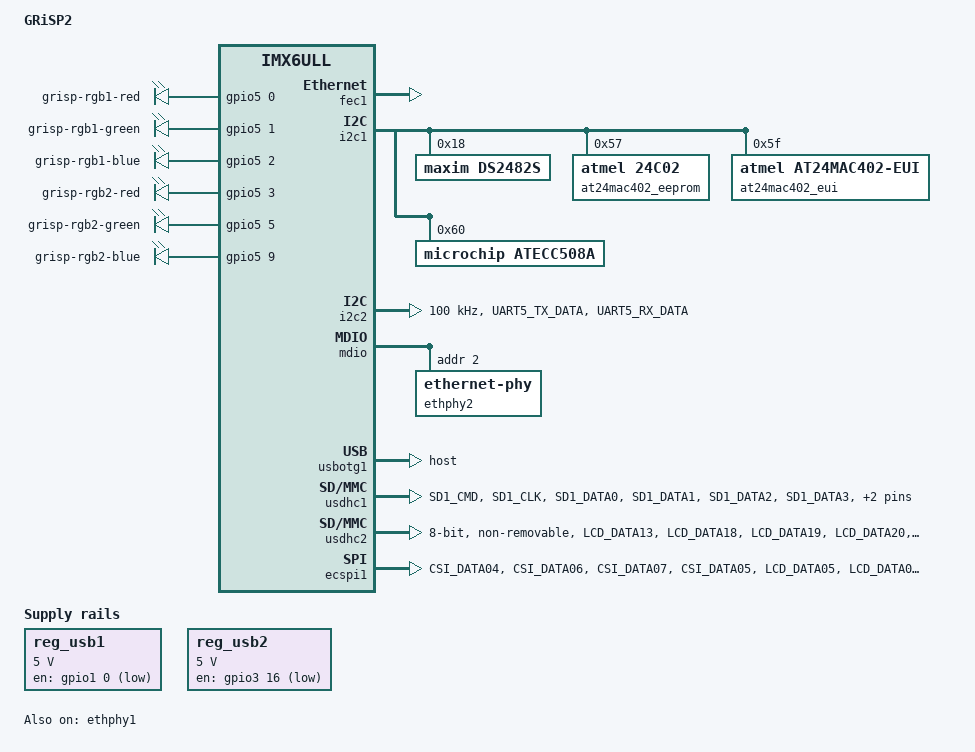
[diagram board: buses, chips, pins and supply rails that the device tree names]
// SPDX-License-Identifier: (GPL-2.0+ OR BSD-2-Clause)
/*
 * Copyright (C) 2020 embedded brains GmbH.
 */

#define GRISP_IMX6ULL_Y0

/dts-v1/;
#include "imx6ull.dtsi"
#include "imx6ull-phytec-phycore-som.dtsi"

/ {
	model = "GRiSP2";
	compatible = "embeddedbrains,grisp2", "phytec,imx6ull-pbacd-10", "phytec,imx6ull-pbacd10", "fsl,imx6ull";

	aliases {
#ifdef GRISP_IMX6ULL_Y0
		/delete-property/ serial4;
		/delete-property/ serial5;
		/delete-property/ serial6;
		/delete-property/ serial7;
		/delete-property/ usbphy1;
		/delete-property/ ethernet1;
#endif /* GRISP_IMX6ULL_Y0 */
	};

	gpio_leds_grisp2: leds {
		pinctrl-names = "default";
		pinctrl-0 = <&pinctrl_gpioleds_grisp2>;
		compatible = "gpio-leds";

		grisp-rgb1-red {
			gpios = <&gpio5 0 GPIO_ACTIVE_HIGH>;
		};
		grisp-rgb1-green {
			gpios = <&gpio5 1 GPIO_ACTIVE_HIGH>;
		};
		grisp-rgb1-blue {
			gpios = <&gpio5 2 GPIO_ACTIVE_HIGH>;
		};
		grisp-rgb2-red {
			gpios = <&gpio5 3 GPIO_ACTIVE_HIGH>;
		};
		grisp-rgb2-green {
			gpios = <&gpio5 5 GPIO_ACTIVE_HIGH>;
		};
		grisp-rgb2-blue {
			gpios = <&gpio5 9 GPIO_ACTIVE_HIGH>;
		};
	};

	reg_usb1: regulator-usb1 {
		compatible = "regulator-fixed";
		pinctrl-names = "default";
		pinctrl-0 = <&pinctrl_usb1_en>;
		gpio = <&gpio1 0 GPIO_ACTIVE_HIGH>;

		regulator-name = "usb1";
		regulator-min-microvolt = <5000000>;
		regulator-max-microvolt = <5000000>;

		status = "okay";
	};

	reg_usb2: regulator-usb2 {
		compatible = "regulator-fixed";
		pinctrl-names = "default";
		pinctrl-0 = <&pinctrl_usb2_en>;
		gpio = <&gpio3 16 GPIO_ACTIVE_LOW>;

		regulator-name = "usb2";
		regulator-min-microvolt = <5000000>;
		regulator-max-microvolt = <5000000>;

		status = "okay";
	};
};

#ifdef GRISP_IMX6ULL_Y0
/delete-node/ &uart5;
/delete-node/ &uart6;
/delete-node/ &uart7;
/delete-node/ &uart8;
/delete-node/ &usbphy2;
/delete-node/ &usbotg2;
/delete-node/ &fec2;
#endif /* GRISP_IMX6ULL_Y0 */

&fec1 {
	status = "okay";
};

&ethphy1 {
	status = "okay";
};

&i2c1 {
	status = "okay";

	ds2482s: onewire_master@18 {
		compatible = "maxim,ds2482s";
		reg = <0x18>;
		status = "okay";
	};
	at24mac402_eeprom: eeprom@57 {
		compatible = "atmel,24c02";
		reg = <0x57>;
		status = "okay";
	};
	at24mac402_eui: eeprom@5f {
		compatible = "atmel,at24mac402-eui";
		reg = <0x5f>;
		status = "okay";
	};
	atecc508a: cryptoauth@60 {
		compatible = "microchip,atecc508a", "atmel,at24c16";
		reg = <0x60>;
		status = "okay";
	};
};

&i2c2 {
	pinctrl-names = "default";
	pinctrl-0 = <&pinctrl_i2c2>;
	clock-frequency = <100000>;
	status = "okay";
};

&mdio {
	ethphy2: ethernet-phy@2 {
		reg = <2>;
		micrel,led-mode = <1>;
		clocks = <&clks IMX6UL_CLK_ENET2_REF>;
		clock-names = "rmii-ref";
		status = "okay";
	};
};

&usbotg1 {
	pinctrl-names = "default";
	dr_mode = "host";
	status = "okay";
};

&usbphy1 {
#ifndef GRISP_IMX6ULL_Y0
	vbus-supply = <&reg_usb1>;
#else
	vbus-supply = <&reg_usb2>;
#endif
};

#ifndef GRISP_IMX6ULL_Y0
&usbotg2 {
	dr_mode = "host";
	disable-over-current;
	status = "okay";
};

&usbphy2 {
	vbus-supply = <&reg_usb2>;
};

#endif /* GRISP_IMX6ULL_Y0 */

&usdhc1 {
	pinctrl-names = "default", "state_100mhz", "state_200mhz";
	pinctrl-0 = <&pinctrl_usdhc1>;
	pinctrl-1 = <&pinctrl_usdhc1_100mhz>;
	pinctrl-2 = <&pinctrl_usdhc1_200mhz>;
	cd-gpios = <&gpio1 19 GPIO_ACTIVE_HIGH>;
	no-1-8-v;
	keep-power-in-suspend;
	wakeup-source;
	status = "okay";
};

&usdhc2 {
	pinctrl-names = "default";
#ifdef GRISP_IMX6ULL_Y0
	pinctrl-0 = <&pinctrl_usdhc2_grisp>;
	bus-width = <8>;
	max-frequency = <50000000>;
	no-1-8-v;
	cap-mmc-hw-reset;
#endif
	non-removable;
	wakeup-source;
	status = "okay";
};

&ecspi1 {
	status = "okay";
	pinctrl-0 = <&pinctrl_spi0>;

	cs-gpios = <&gpio4 26 GPIO_ACTIVE_HIGH>,
		   <&gpio3 10 GPIO_ACTIVE_HIGH>,
		   <&gpio3 11 GPIO_ACTIVE_HIGH>,
		   <&gpio3 12 GPIO_ACTIVE_HIGH>;
};

&iomuxc {
	pinctrl_i2c2: i2c2grp {
		fsl,pins = <
			MX6UL_PAD_UART5_TX_DATA__I2C2_SCL	0x4001b830
			MX6UL_PAD_UART5_RX_DATA__I2C2_SDA	0x4001b830
		>;
	};

	pinctrl_usb1_en: usb1engrp {
		fsl,pins = <
			MX6UL_PAD_GPIO1_IO00__GPIO1_IO00	0x08
		>;
	};

	pinctrl_usb2_en: usb2engrp {
		fsl,pins = <
			MX6UL_PAD_LCD_DATA11__GPIO3_IO16	0x08
		>;
	};

	pinctrl_usdhc1: usdhc1grp {
		fsl,pins = <
			MX6UL_PAD_SD1_CMD__USDHC1_CMD		0x17059
			MX6UL_PAD_SD1_CLK__USDHC1_CLK		0x10059
			MX6UL_PAD_SD1_DATA0__USDHC1_DATA0	0x17059
			MX6UL_PAD_SD1_DATA1__USDHC1_DATA1	0x17059
			MX6UL_PAD_SD1_DATA2__USDHC1_DATA2	0x17059
			MX6UL_PAD_SD1_DATA3__USDHC1_DATA3	0x17059
			MX6UL_PAD_UART1_RTS_B__GPIO1_IO19	0x17059
		>;
	};

	pinctrl_usdhc1_100mhz: usdhc1grp100mhz {
		fsl,pins = <
			MX6UL_PAD_SD1_CMD__USDHC1_CMD		0x170b9
			MX6UL_PAD_SD1_CLK__USDHC1_CLK		0x100b9
			MX6UL_PAD_SD1_DATA0__USDHC1_DATA0	0x170b9
			MX6UL_PAD_SD1_DATA1__USDHC1_DATA1	0x170b9
			MX6UL_PAD_SD1_DATA2__USDHC1_DATA2	0x170b9
			MX6UL_PAD_SD1_DATA3__USDHC1_DATA3	0x170b9
			MX6UL_PAD_UART1_RTS_B__GPIO1_IO19	0x17059
		>;
	};

	pinctrl_usdhc1_200mhz: usdhc1grp200mhz {
		fsl,pins = <
			MX6UL_PAD_SD1_CMD__USDHC1_CMD		0x170f9
			MX6UL_PAD_SD1_CLK__USDHC1_CLK		0x100f9
			MX6UL_PAD_SD1_DATA0__USDHC1_DATA0	0x170f9
			MX6UL_PAD_SD1_DATA1__USDHC1_DATA1	0x170f9
			MX6UL_PAD_SD1_DATA2__USDHC1_DATA2	0x170f9
			MX6UL_PAD_SD1_DATA3__USDHC1_DATA3	0x170f9
			MX6UL_PAD_UART1_RTS_B__GPIO1_IO19	0x17059
		>;
	};

#ifdef GRISP_IMX6ULL_Y0
	/delete-node/ pinctrl_usdhc2;

	pinctrl_usdhc2_grisp: usdhc2-grp {
		fsl,pins = <
			MX6UL_PAD_LCD_DATA13__USDHC2_RESET_B	0x17059
			MX6UL_PAD_LCD_DATA18__USDHC2_CMD	0x17059
			MX6UL_PAD_LCD_DATA19__USDHC2_CLK	0x17059
			MX6UL_PAD_LCD_DATA20__USDHC2_DATA0	0x17059
			MX6UL_PAD_LCD_DATA21__USDHC2_DATA1	0x17059
			MX6UL_PAD_LCD_DATA22__USDHC2_DATA2	0x17059
			MX6UL_PAD_LCD_DATA23__USDHC2_DATA3	0x17059
			MX6UL_PAD_LCD_DATA14__USDHC2_DATA4	0x17059
			MX6UL_PAD_LCD_DATA15__USDHC2_DATA5	0x17059
			MX6UL_PAD_LCD_DATA16__USDHC2_DATA6	0x17059
			MX6UL_PAD_LCD_DATA17__USDHC2_DATA7	0x17059
		>;
	};
#endif

	/delete-node/ gpioledssomgrp;

	pinctrl_spi0: spi0grp {
		fsl,pins = <
			MX6UL_PAD_CSI_DATA04__ECSPI1_SCLK	0x8
			MX6UL_PAD_CSI_DATA06__ECSPI1_MOSI	0x8
			MX6UL_PAD_CSI_DATA07__ECSPI1_MISO	0x2000
			/* SPI_SSx */
			MX6UL_PAD_CSI_DATA05__GPIO4_IO26	0x8
			MX6UL_PAD_LCD_DATA05__GPIO3_IO10	0x8
			MX6UL_PAD_LCD_DATA06__GPIO3_IO11	0x8
			MX6UL_PAD_LCD_DATA07__GPIO3_IO12	0x8
			/* SPI_RESET */
			MX6UL_PAD_CSI_DATA03__GPIO4_IO24	0x8
			/* SPI_INT */
			MX6UL_PAD_CSI_VSYNC__GPIO4_IO19		0x8
		>;
	};
};

&iomuxc_snvs {
	pinctrl_gpioleds_som: gpioledssomgrp {
		fsl,pins = <
			MX6ULL_PAD_SNVS_TAMPER4__GPIO5_IO04	0x0b0b0
		>;
	};

	pinctrl_gpioleds_grisp2: gpioledsgrisp2grp {
		fsl,pins = <
			MX6UL_PAD_SNVS_TAMPER0__GPIO5_IO00	0x00088
			MX6UL_PAD_SNVS_TAMPER1__GPIO5_IO01	0x00088
			MX6UL_PAD_SNVS_TAMPER2__GPIO5_IO02	0x00088
			MX6UL_PAD_SNVS_TAMPER3__GPIO5_IO03	0x00088
			MX6UL_PAD_SNVS_TAMPER5__GPIO5_IO05	0x00088
			MX6UL_PAD_SNVS_TAMPER9__GPIO5_IO09	0x00088
		>;
	};
};
